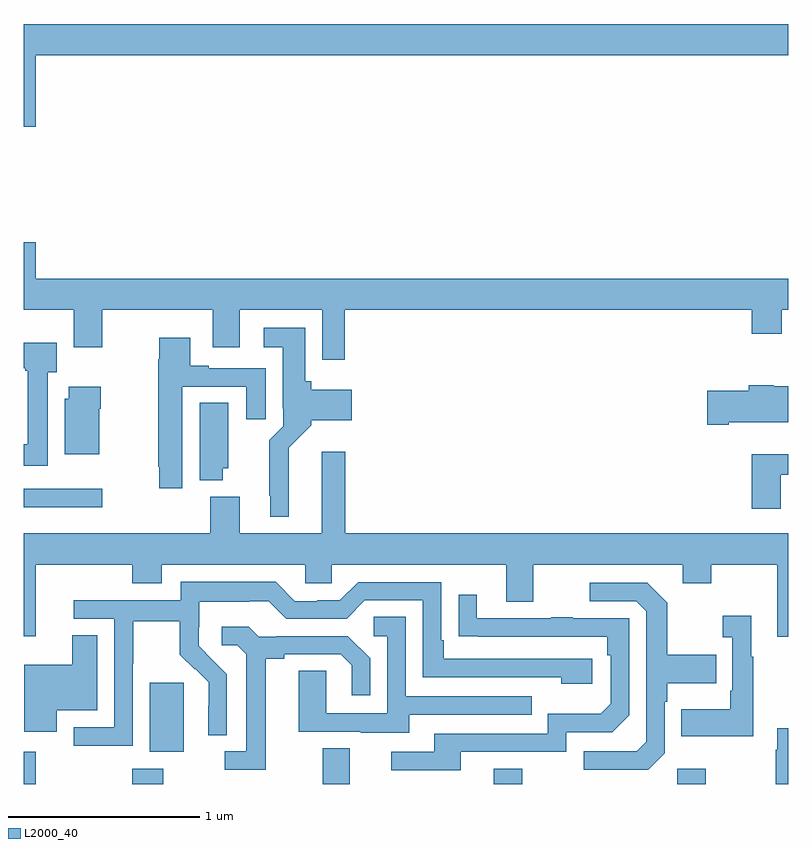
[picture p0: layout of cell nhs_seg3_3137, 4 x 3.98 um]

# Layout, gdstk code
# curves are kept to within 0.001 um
import gdstk
lib = gdstk.Library(unit=1e-6, precision=1e-09)
def R(c, l, rs):  # rectangles x0, y0, x1, y1
    for r in rs: c.add(gdstk.rectangle(r[:2], r[2:], *l))
def P(c, l, *ps):  # polygons
    for p in ps: c.add(gdstk.Polygon(p, *l))
L2000_40 = (2000, 40)

nhs_seg3_3137 = lib.new_cell('nhs_seg3_3137')
R(nhs_seg3_3137, L2000_40, [(273,734.4,273.064,734.569), (273.569,734.4,273.729,734.479), (274.565,734.4,274.705,734.588), (275.459,734.4,275.607,734.479), (276.42,734.4,276.567,734.479), (273.659,734.57,273.838,734.931), (273,735.848,273.412,735.945)])
P(nhs_seg3_3137, L2000_40, [(273,737.838),(273.064,737.838),(273.064,738.212),(277,738.212),(277,738.376),(273,738.376)],
  [(274.679,736.88),(276.809,736.88),(276.809,736.756),(276.965,736.756),(276.965,736.88),(277,736.88),(277,737.044),(273.064,737.044),(273.064,737.233),(273,737.233),(273,736.88),(273.263,736.88),(273.263,736.686),(273.411,736.686),(273.411,736.88),(273.989,736.88),(273.989,736.686),(274.129,736.686),(274.129,736.88),(274.563,736.88),(274.563,736.62),(274.679,736.62)],
  [(274.387,736.16),(274.505,736.278),(274.505,736.304),(274.717,736.304),(274.717,736.462),(274.505,736.462),(274.505,736.506),(274.474,736.506),(274.474,736.786),(274.257,736.786),(274.257,736.685),(274.355,736.685),(274.355,736.366),(274.359,736.366),(274.359,736.272),(274.285,736.198),(274.285,735.907),(274.289,735.907),(274.289,735.797),(274.387,735.797)],
  [(273.829,736.479),(274.163,736.479),(274.163,736.308),(274.267,736.308),(274.267,736.575),(273.967,736.575),(273.967,736.588),(273.871,736.588),(273.871,736.735),(273.71,736.735),(273.71,736.622),(273.703,736.622),(273.703,736.06),(273.71,736.06),(273.71,735.948),(273.829,735.948)],
  [(273.127,736.554),(273.172,736.554),(273.172,736.708),(273,736.708),(273,736.574),(273.007,736.574),(273.007,736.561),(273.02,736.561),(273.02,736.178),(273,736.178),(273,736.065),(273.127,736.065)],
  [(276.688,736.292),(277,736.292),(277,736.48),(276.924,736.48),(276.924,736.486),(276.794,736.486),(276.794,736.458),(276.576,736.458),(276.576,736.28),(276.688,736.28)],
  [(273.394,736.364),(273.402,736.364),(273.402,736.477),(273.236,736.477),(273.236,736.416),(273.215,736.416),(273.215,736.124),(273.394,736.124)],
  [(274.042,736.053),(274.069,736.053),(274.069,736.394),(273.92,736.394),(273.92,735.989),(274.042,735.989)],
  [(277,735.712),(274.682,735.712),(274.682,736.138),(274.559,736.138),(274.559,735.712),(274.129,735.712),(274.129,735.904),(273.977,735.904),(273.977,735.712),(273,735.712),(273,735.174),(273.064,735.174),(273.064,735.548),(273.569,735.548),(273.569,735.449),(273.721,735.449),(273.721,735.548),(274.473,735.548),(274.473,735.45),(274.611,735.45),(274.611,735.548),(275.525,735.548),(275.525,735.354),(275.665,735.354),(275.665,735.548),(276.449,735.548),(276.449,735.449),(276.597,735.449),(276.597,735.548),(276.941,735.548),(276.941,735.171),(277,735.171)],
  [(276.961,736.017),(277,736.017),(277,736.126),(276.809,736.126),(276.809,735.84),(276.961,735.84)],
  [(273.57,735.028),(273.573,735.028),(273.573,735.252),(273.817,735.252),(273.817,735.077),(273.894,735),(273.897,735.003),(273.968,734.933),(273.968,734.81),(273.966,734.81),(273.966,734.656),(274.062,734.656),(274.062,734.974),(273.916,735.122),(273.916,735.219),(273.918,735.219),(273.918,735.353),(274.181,735.353),(274.181,735.357),(274.281,735.357),(274.374,735.264),(274.689,735.264),(274.785,735.36),(275.088,735.36),(275.088,734.958),(275.813,734.958),(275.813,734.924),(275.974,734.924),(275.974,735.054),(275.197,735.054),(275.197,735.151),(275.184,735.151),(275.184,735.456),(274.749,735.456),(274.653,735.36),(274.535,735.36),(274.535,735.357),(274.419,735.357),(274.319,735.457),(273.822,735.457),(273.822,735.36),(273.261,735.36),(273.261,735.264),(273.474,735.264),(273.474,734.697),(273.261,734.697),(273.261,734.599),(273.57,734.599)],
  [(276.354,734.562),(276.354,734.831),(276.367,734.831),(276.367,734.927),(276.623,734.927),(276.623,735.075),(276.367,735.075),(276.367,735.347),(276.261,735.453),(275.961,735.453),(275.961,735.357),(276.204,735.357),(276.258,735.303),(276.258,734.622),(276.207,734.571),(275.931,734.571),(275.931,734.475),(276.267,734.475)],
  [(275.287,734.568),(275.838,734.568),(275.838,734.67),(276.078,734.67),(276.168,734.76),(276.168,735.267),(275.873,735.267),(275.873,735.272),(275.761,735.272),(275.761,735.267),(275.371,735.267),(275.371,735.391),(275.275,735.391),(275.275,735.172),(276.052,735.171),(276.052,735.074),(276.072,735.074),(276.072,734.82),(276.019,734.767),(275.742,734.767),(275.742,734.664),(275.147,734.664),(275.147,734.568),(274.923,734.568),(274.923,734.472),(275.287,734.472)],
  [(276.817,735.067),(276.805,735.067),(276.805,735.28),(276.657,735.28),(276.657,735.167),(276.708,735.167),(276.708,734.887),(276.696,734.887),(276.696,734.791),(276.439,734.791),(276.439,734.651),(276.817,734.651)],
  [(275.017,734.763),(275.657,734.763),(275.657,734.859),(274.998,734.859),(274.998,735.275),(274.83,735.275),(274.83,735.174),(274.902,735.174),(274.902,734.769),(274.584,734.769),(274.584,734.993),(274.439,734.993),(274.439,734.673),(274.763,734.673),(274.763,734.669),(275.017,734.669)],
  [(274.267,735.056),(274.363,735.056),(274.363,735.078),(274.658,735.078),(274.715,735.021),(274.715,734.865),(274.812,734.865),(274.812,735.058),(274.696,735.174),(274.324,735.174),(274.324,735.171),(274.23,735.171),(274.178,735.223),(274.035,735.223),(274.035,735.126),(274.116,735.126),(274.163,735.079),(274.163,734.571),(274.053,734.571),(274.053,734.475),(274.267,734.475)],
  [(273.172,734.786),(273.385,734.786),(273.385,735.179),(273.254,735.179),(273.254,735.025),(273.002,735.025),(273.002,734.673),(273.172,734.673)],
  [(277,734.692),(276.941,734.692),(276.941,734.579),(276.934,734.579),(276.934,734.4),(277,734.4)])

lib.write_gds('nhs_seg3_3137.gds')
